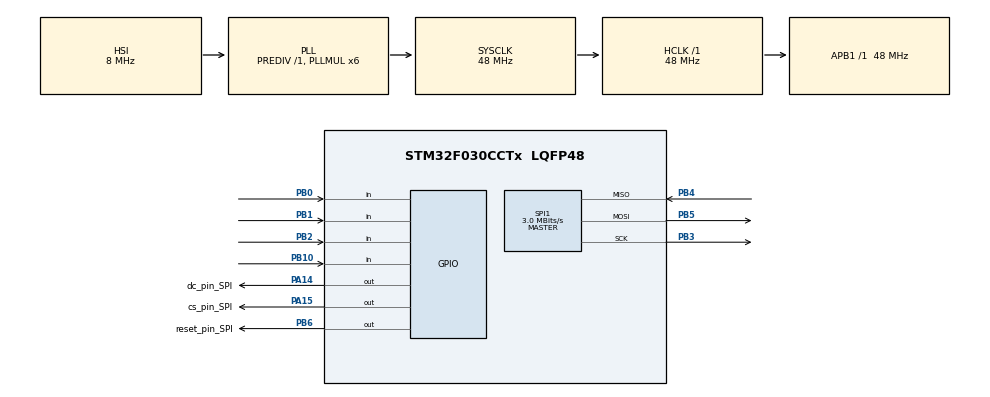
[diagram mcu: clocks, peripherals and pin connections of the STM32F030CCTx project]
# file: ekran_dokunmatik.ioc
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Mcu.Family=STM32F0
Mcu.Name=STM32F030CCTx
Mcu.Package=LQFP48
PA14.GPIO_Label=dc_pin_SPI
PA14.Signal=GPIO_Output
PA15.GPIO_Label=cs_pin_SPI
PA15.GPIO_PuPd=GPIO_PULLUP
PA15.Signal=GPIO_Output
PB0.Signal=GPIO_Input
PB1.Signal=GPIO_Input
PB10.Signal=GPIO_Input
PB2.Signal=GPIO_Input
PB3.Mode=Full_Duplex_Master
PB3.Signal=SPI1_SCK
PB4.Mode=Full_Duplex_Master
PB4.Signal=SPI1_MISO
PB5.Mode=Full_Duplex_Master
PB5.Signal=SPI1_MOSI
PB6.GPIO_Label=reset_pin_SPI
PB6.GPIO_PuPd=GPIO_PULLUP
PB6.Signal=GPIO_Output
ProjectManager.HeapSize=0x200
ProjectManager.StackSize=0x400
ProjectManager.TargetToolchain=STM32CubeIDE
RCC.AHBFreq_Value=48000000
RCC.APB1Freq_Value=48000000
RCC.APB1TimFreq_Value=48000000
RCC.HCLKFreq_Value=48000000
RCC.PLLMUL=RCC_PLL_MUL6
RCC.SYSCLKFreq_VALUE=48000000
RCC.SYSCLKSource=RCC_SYSCLKSOURCE_PLLCLK
SPI1.BaudRatePrescaler=SPI_BAUDRATEPRESCALER_16
SPI1.CalculateBaudRate=3.0 MBits/s
SPI1.Direction=SPI_DIRECTION_2LINES
SPI1.Mode=SPI_MODE_MASTER
SPI1.VirtualType=VM_MASTER
board=custom

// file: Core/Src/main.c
/* USER CODE BEGIN Header */
/**
  ******************************************************************************
  * @file           : main.c
  * @brief          : Main program body
  ******************************************************************************
  * @attention
  *
  * Copyright (c) 2025 STMicroelectronics.
  * All rights reserved.
  *
  * This software is licensed under terms that can be found in the LICENSE file
  * in the root directory of this software component.
  * If no LICENSE file comes with this software, it is provided AS-IS.
  *
  ******************************************************************************
  */
/* USER CODE END Header */
#include "main.h"

/* USER CODE BEGIN Includes */
#include <string.h>
#include "ST7735.h"
#include "GFX_FUNCTIONS.h"
#include "menu.h"
#include "ugui.h"

/* USER CODE END Includes */

/* USER CODE BEGIN PTD */
extern SPI_HandleTypeDef hspi1;

extern UG_GUI gui;

/* USER CODE END PTD */

/* USER CODE BEGIN PD */

#define BUTTON_UP_PIN       GPIO_PIN_0
#define BUTTON_DOWN_PIN     GPIO_PIN_1
#define BUTTON_SELECT_PIN   GPIO_PIN_2
#define BUTTON_BACK_PIN     GPIO_PIN_3
#define BUTTON_GPIO_PORT    GPIOB

//#define RST_PORT GPIOB
//#define RST_PIN  GPIO_PIN_13

/* USER CODE END PD */

SPI_HandleTypeDef hspi1;

/* USER CODE BEGIN PV */

uint32_t lastButtonTime = 0;
const uint32_t debounceDelay = 200;

/* USER CODE END PV */

void SystemClock_Config(void);
static void MX_GPIO_Init(void);
static void MX_SPI1_Init(void);

/* USER CODE BEGIN 0 */

/*

*/

/* USER CODE END 0 */

int main(void)
{

  /* MCU Configuration--------------------------------------------------------*/

  /* Reset of all peripherals, Initializes the Flash interface and the Systick. */
  HAL_Init();

  /* Configure the system clock */
  SystemClock_Config();

  /* Initialize all configured peripherals */
  MX_GPIO_Init();
  MX_SPI1_Init();
  /* USER CODE BEGIN 2 */

  ST7735_Init(1);
  show_startup_screen();

  Menu_Init();

  /* USER CODE END 2 */

  /* Infinite loop */
  /* USER CODE BEGIN WHILE */
  while (1)
  {

	  uint32_t now = HAL_GetTick();
	          if (now - lastButtonTime >= debounceDelay)
	          {
	              if (HAL_GPIO_ReadPin(BUTTON_GPIO_PORT, BUTTON_UP_PIN) == GPIO_PIN_RESET) {
	                  Menu_HandleInput(BUTTON_UP);
	                  lastButtonTime = now;
	              }
	              else if (HAL_GPIO_ReadPin(BUTTON_GPIO_PORT, BUTTON_DOWN_PIN) == GPIO_PIN_RESET) {
	                  Menu_HandleInput(BUTTON_DOWN);
	                  lastButtonTime = now;
	              }
	              else if (HAL_GPIO_ReadPin(BUTTON_GPIO_PORT, BUTTON_SELECT_PIN) == GPIO_PIN_RESET) {
	                  Menu_HandleInput(BUTTON_SELECT);
	                  lastButtonTime = now;
	              }
	              else if (HAL_GPIO_ReadPin(BUTTON_GPIO_PORT, BUTTON_BACK_PIN) == GPIO_PIN_RESET) {
	                  Menu_HandleInput(BUTTON_BACK);
	                  lastButtonTime = now;
	              }
	          }

  }

    /* USER CODE END WHILE */

}

void SystemClock_Config(void)
{
  RCC_OscInitTypeDef RCC_OscInitStruct = {0};
  RCC_ClkInitTypeDef RCC_ClkInitStruct = {0};

  /** Initializes the RCC Oscillators according to the specified parameters
  * in the RCC_OscInitTypeDef structure.
  */
  RCC_OscInitStruct.OscillatorType = RCC_OSCILLATORTYPE_HSI;
  RCC_OscInitStruct.HSIState = RCC_HSI_ON;
  RCC_OscInitStruct.HSICalibrationValue = RCC_HSICALIBRATION_DEFAULT;
  RCC_OscInitStruct.PLL.PLLState = RCC_PLL_ON;
  RCC_OscInitStruct.PLL.PLLSource = RCC_PLLSOURCE_HSI;
  RCC_OscInitStruct.PLL.PLLMUL = RCC_PLL_MUL6;
  RCC_OscInitStruct.PLL.PREDIV = RCC_PREDIV_DIV1;
  if (HAL_RCC_OscConfig(&RCC_OscInitStruct) != HAL_OK)
  {
    Error_Handler();
  }

  /** Initializes the CPU, AHB and APB buses clocks
  */
  RCC_ClkInitStruct.ClockType = RCC_CLOCKTYPE_HCLK|RCC_CLOCKTYPE_SYSCLK
                              |RCC_CLOCKTYPE_PCLK1;
  RCC_ClkInitStruct.SYSCLKSource = RCC_SYSCLKSOURCE_PLLCLK;
  RCC_ClkInitStruct.AHBCLKDivider = RCC_SYSCLK_DIV1;
  RCC_ClkInitStruct.APB1CLKDivider = RCC_HCLK_DIV1;

  if (HAL_RCC_ClockConfig(&RCC_ClkInitStruct, FLASH_LATENCY_1) != HAL_OK)
  {
    Error_Handler();
  }
}

static void MX_SPI1_Init(void)
{

  /* SPI1 parameter configuration*/
  hspi1.Instance = SPI1;
  hspi1.Init.Mode = SPI_MODE_MASTER;
  hspi1.Init.Direction = SPI_DIRECTION_2LINES;
  hspi1.Init.DataSize = SPI_DATASIZE_4BIT;
  hspi1.Init.CLKPolarity = SPI_POLARITY_LOW;
  hspi1.Init.CLKPhase = SPI_PHASE_1EDGE;
  hspi1.Init.NSS = SPI_NSS_SOFT;
  hspi1.Init.BaudRatePrescaler = SPI_BAUDRATEPRESCALER_16;
  hspi1.Init.FirstBit = SPI_FIRSTBIT_MSB;
  hspi1.Init.TIMode = SPI_TIMODE_DISABLE;
  hspi1.Init.CRCCalculation = SPI_CRCCALCULATION_DISABLE;
  hspi1.Init.CRCPolynomial = 7;
  hspi1.Init.CRCLength = SPI_CRC_LENGTH_DATASIZE;
  hspi1.Init.NSSPMode = SPI_NSS_PULSE_ENABLE;
  if (HAL_SPI_Init(&hspi1) != HAL_OK)
  {
    Error_Handler();
  }

}

static void MX_GPIO_Init(void)
{
  GPIO_InitTypeDef GPIO_InitStruct = {0};

  /* GPIO Ports Clock Enable */
  __HAL_RCC_GPIOB_CLK_ENABLE();
  __HAL_RCC_GPIOA_CLK_ENABLE();

  /*Configure GPIO pin Output Level */
  HAL_GPIO_WritePin(GPIOA, dc_pin_SPI_Pin|cs_pin_SPI_Pin, GPIO_PIN_RESET);

  /*Configure GPIO pin Output Level */
  HAL_GPIO_WritePin(reset_pin_SPI_GPIO_Port, reset_pin_SPI_Pin, GPIO_PIN_RESET);

  /*Configure GPIO pins : PB0 PB1 PB2 PB10 */
  GPIO_InitStruct.Pin = GPIO_PIN_0|GPIO_PIN_1|GPIO_PIN_2|GPIO_PIN_10;
  GPIO_InitStruct.Mode = GPIO_MODE_INPUT;
  GPIO_InitStruct.Pull = GPIO_NOPULL;
  HAL_GPIO_Init(GPIOB, &GPIO_InitStruct);

  /*Configure GPIO pin : dc_pin_SPI_Pin */
  GPIO_InitStruct.Pin = dc_pin_SPI_Pin;
  GPIO_InitStruct.Mode = GPIO_MODE_OUTPUT_PP;
  GPIO_InitStruct.Pull = GPIO_NOPULL;
  GPIO_InitStruct.Speed = GPIO_SPEED_FREQ_LOW;
  HAL_GPIO_Init(dc_pin_SPI_GPIO_Port, &GPIO_InitStruct);

  /*Configure GPIO pin : cs_pin_SPI_Pin */
  GPIO_InitStruct.Pin = cs_pin_SPI_Pin;
  GPIO_InitStruct.Mode = GPIO_MODE_OUTPUT_PP;
  GPIO_InitStruct.Pull = GPIO_PULLUP;
  GPIO_InitStruct.Speed = GPIO_SPEED_FREQ_LOW;
  HAL_GPIO_Init(cs_pin_SPI_GPIO_Port, &GPIO_InitStruct);

  /*Configure GPIO pin : reset_pin_SPI_Pin */
  GPIO_InitStruct.Pin = reset_pin_SPI_Pin;
  GPIO_InitStruct.Mode = GPIO_MODE_OUTPUT_PP;
  GPIO_InitStruct.Pull = GPIO_PULLUP;
  GPIO_InitStruct.Speed = GPIO_SPEED_FREQ_LOW;
  HAL_GPIO_Init(reset_pin_SPI_GPIO_Port, &GPIO_InitStruct);

}

void Error_Handler(void)
{
  __disable_irq();
  while (1)
  {
  }
}
